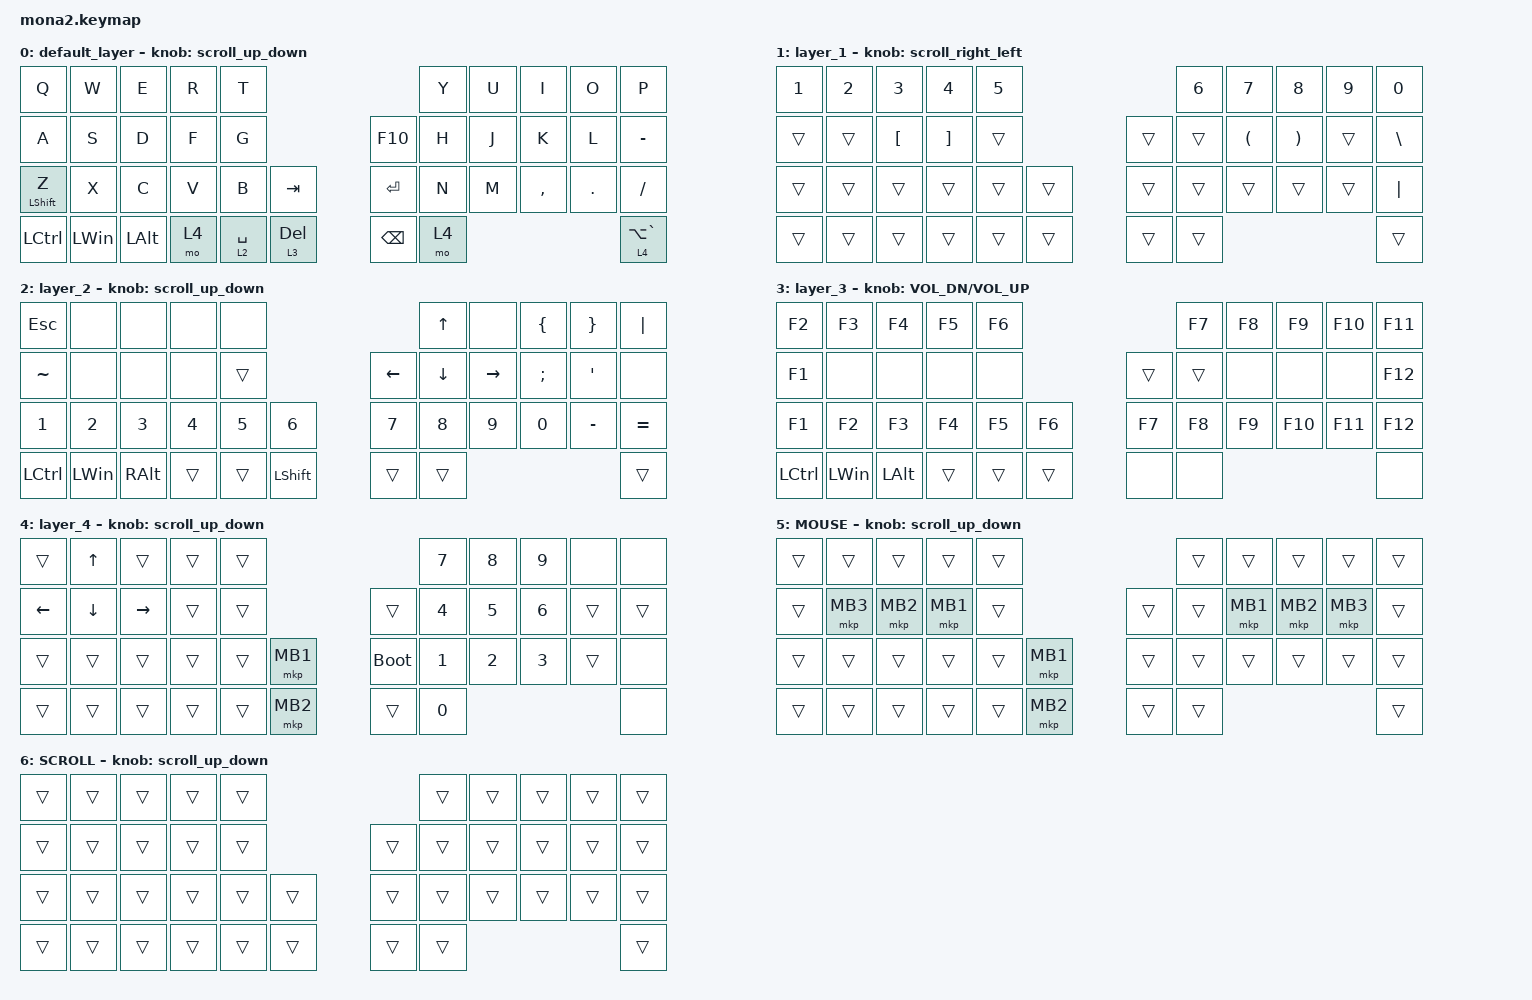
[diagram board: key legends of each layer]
#include <input/processors.dtsi>
#include <dt-bindings/zmk/input_transform.h>
#include <zephyr/dt-bindings/input/input-event-codes.h>
#include <behaviors.dtsi>
#include <dt-bindings/zmk/keys.h>
#include <dt-bindings/zmk/pointing.h>

#define ZMK_POINTING_DEFAULT_SCRL_VAL 100
#define MOUSE 5
#define SCROLL 6

&mt {
    flavor = "balanced";
    quick-tap-ms = <0>;
};

&lt {
    quick-tap-ms = <300>;
    flavor = "balanced";
};

/ {
    combos {
        compatible = "zmk,combos";

        layer4_ESC {
            bindings = <&lt 4 ESC>;
            key-positions = <39 38>;
        };

        tab {
            bindings = <&kp TAB>;
            key-positions = <11 12>;
        };
    };

    macros {
        to_layer_0: to_layer_0 {
            compatible = "zmk,behavior-macro-one-param";
            #binding-cells = <1>;
            bindings = <&to 0 &macro_param_1to1 &kp MACRO_PLACEHOLDER>;
            label = "TO_LAYER_0";
        };
    };

    behaviors {
        lt_to_layer_0: lt_to_layer_0 {
            compatible = "zmk,behavior-hold-tap";
            label = "LAYER_TAP_TO_0";
            bindings = <&mo>, <&to_layer_0>;

            #binding-cells = <2>;
            tapping-term-ms = <200>;
        };

        scroll_up_down: mouse_wheel_up_down {
            compatible = "zmk,behavior-sensor-rotate";
            #sensor-binding-cells = <0>;
            bindings = <&msc SCRL_UP>, <&msc SCRL_DOWN>;

            tap-ms = <20>;
        };

        scroll_right_left: mouse_wheel_right_left {
            compatible = "zmk,behavior-sensor-rotate";
            #sensor-binding-cells = <0>;
            bindings = <&msc SCRL_LEFT>, <&msc SCRL_RIGHT>;

            tap-ms = <20>;
        };

        q_tab: q_tab {
            compatible = "zmk,behavior-tap-dance";
            label = "Q_TAB";
            #binding-cells = <0>;
            bindings = <&kp TAB>, <&kp Q>;
        };
    };

    keymap {
        compatible = "zmk,keymap";

        default_layer {
            bindings = <
&kp Q             &kp W         &kp E         &kp R  &kp T                                                             &kp Y  &kp U  &kp I      &kp O    &kp P
&kp A             &kp S         &kp D         &kp F  &kp G                                              &kp F10        &kp H  &kp J  &kp K      &kp L    &kp MINUS
&mt LEFT_SHIFT Z  &kp X         &kp C         &kp V  &kp B                   &kp TAB                    &kp ENTER      &kp N  &kp M  &kp COMMA  &kp DOT  &kp SLASH
&kp LCTRL         &kp LEFT_WIN  &kp LEFT_ALT  &mo 4  &lt_to_layer_0 2 SPACE  &lt_to_layer_0 3 DELETE    &kp BACKSPACE  &mo 4                             &lt_to_layer_0 4 LA(GRAVE)
            >;

            sensor-bindings = <&scroll_up_down>;
        };

        layer_1 {
            bindings = <
&kp NUMBER_1  &kp NUMBER_2  &kp NUMBER_3      &kp NUMBER_4       &kp NUMBER_5                    &kp NUMBER_6  &kp NUMBER_7          &kp NUMBER_8           &kp NUMBER_9  &kp NUMBER_0
&trans        &trans        &kp LEFT_BRACKET  &kp RIGHT_BRACKET  &trans                  &trans  &trans        &kp LEFT_PARENTHESIS  &kp RIGHT_PARENTHESIS  &trans        &kp BACKSLASH
&trans        &trans        &trans            &trans             &trans        &trans    &trans  &trans        &trans                &trans                 &trans        &kp PIPE
&trans        &trans        &trans            &trans             &trans        &trans    &trans  &trans                                                                   &trans
            >;

            sensor-bindings = <&scroll_right_left>;
        };

        layer_2 {
            bindings = <
&kp ESCAPE    &none         &none          &none         &none                             &kp UP_ARROW    &none      &kp LEFT_BRACE  &kp RIGHT_BRACE  &kp PIPE
&kp TILDE     &none         &none          &none         &trans                  &kp LEFT  &kp DOWN_ARROW  &kp RIGHT  &kp SEMICOLON   &kp SQT          &none
&kp NUMBER_1  &kp NUMBER_2  &kp NUMBER_3   &kp NUMBER_4  &kp N5  &kp NUMBER_6    &kp N7    &kp N8          &kp N9     &kp N0          &kp MINUS        &kp EQUAL
&kp LCTRL     &kp LEFT_WIN  &kp RIGHT_ALT  &trans        &trans  &kp LSHIFT      &trans    &trans                                                      &trans
            >;

            sensor-bindings = <&scroll_up_down>;
        };

        layer_3 {
            bindings = <
&kp F2     &kp F3        &kp F4        &kp F5  &kp F6                    &kp F7  &kp F8  &kp F9   &kp F10  &kp F11
&kp F1     &none         &none         &none   &none             &trans  &trans  &none   &none    &none    &kp F12
&kp F1     &kp F2        &kp F3        &kp F4  &kp F5  &kp F6    &kp F7  &kp F8  &kp F9  &kp F10  &kp F11  &kp F12
&kp LCTRL  &kp LEFT_WIN  &kp LEFT_ALT  &trans  &trans  &trans    &none   &none                             &none
            >;

            sensor-bindings = <&inc_dec_kp C_VOL_DN C_VOL_UP>;
        };

        layer_4 {
            bindings = <
&trans    &kp UP_ARROW  &trans     &trans  &trans                           &kp N7        &kp N8        &kp N9        &none   &none
&kp LEFT  &kp DOWN      &kp RIGHT  &trans  &trans              &trans       &kp NUMBER_4  &kp N5        &kp NUMBER_6  &trans  &trans
&trans    &trans        &trans     &trans  &trans  &mkp MB1    &bootloader  &kp NUMBER_1  &kp NUMBER_2  &kp NUMBER_3  &trans  &none
&trans    &trans        &trans     &trans  &trans  &mkp MB2    &trans       &kp N0                                            &none
            >;

            sensor-bindings = <&scroll_up_down>;
        };

        MOUSE {
            bindings = <
&trans  &trans    &trans    &trans    &trans                      &trans  &trans    &trans    &trans    &trans
&trans  &mkp MB3  &mkp MB2  &mkp MB1  &trans              &trans  &trans  &mkp MB1  &mkp MB2  &mkp MB3  &trans
&trans  &trans    &trans    &trans    &trans  &mkp MB1    &trans  &trans  &trans    &trans    &trans    &trans
&trans  &trans    &trans    &trans    &trans  &mkp MB2    &trans  &trans                                &trans
            >;

            sensor-bindings = <&scroll_up_down>;
        };

        SCROLL {
            bindings = <
&trans  &trans  &trans  &trans  &trans                    &trans  &trans  &trans  &trans  &trans
&trans  &trans  &trans  &trans  &trans            &trans  &trans  &trans  &trans  &trans  &trans
&trans  &trans  &trans  &trans  &trans  &trans    &trans  &trans  &trans  &trans  &trans  &trans
&trans  &trans  &trans  &trans  &trans  &trans    &trans  &trans                          &trans
            >;

            sensor-bindings = <&scroll_up_down>;
        };
    };
};
